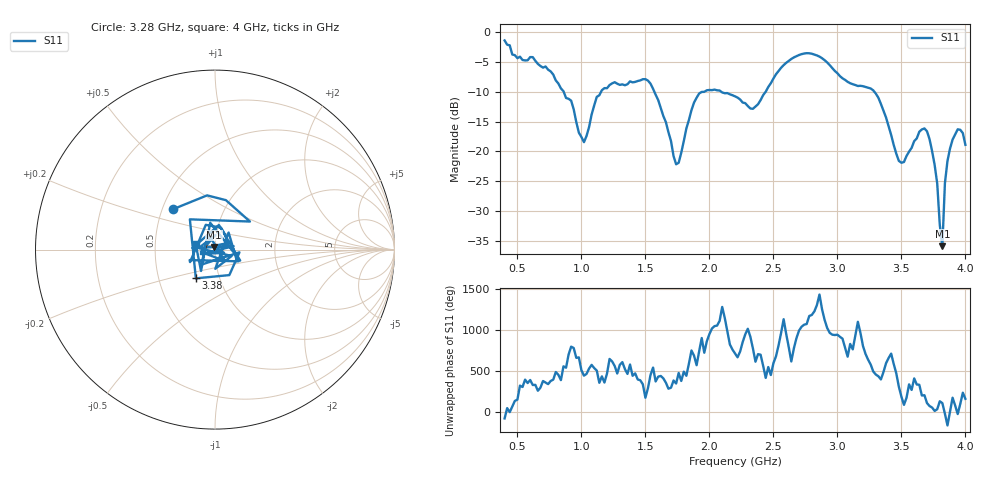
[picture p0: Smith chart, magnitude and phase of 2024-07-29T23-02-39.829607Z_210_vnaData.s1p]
!Created with skrf (http://scikit-rf.org).
# Hz S RI R 50.0
!freq ReS11 ImS11
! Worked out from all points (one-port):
!   181 points, 400 MHz to 4 GHz, reference 50 ohm
!   lowest |S11| = -35.9 dB at 3.82 GHz (marker M1), VSWR 1.03, Z = 49.4 + j1.48 ohm
!   |S11| at or under -10 dB: 1.57 GHz to 1.961 GHz (391 MHz wide, 22.1 % of centre); 2.093 GHz to 2.44 GHz (346.6 MHz wide, 15.3 % of centre); 3.289 GHz to end of sweep (the widest 3 of 4)
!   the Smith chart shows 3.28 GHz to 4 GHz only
!   S11 on the Smith chart (normalised r, x): 3.28 GHz: 0.57, +0.29; 3.38 GHz: 0.77, -0.26; 4 GHz: 0.80, +0.05
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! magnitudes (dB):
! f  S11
! 400 MHz  -1.4
! 720 MHz  -5.8
! 860 MHz  -9.9
! 920 MHz  -11.5
! 1.02 GHz  -18.5
! 1.12 GHz  -10.9
! 1.3 GHz  -8.8
! 1.54 GHz  -8.6
! 1.76 GHz  -21.9
! 1.86 GHz  -13.1
! 1.92 GHz  -10.3
! 2.2 GHz  -10.8
! 2.34 GHz  -12.9
! 2.66 GHz  -4.2
! 2.86 GHz  -4.1
! 3.1 GHz  -8.6
! 3.28 GHz  -9.8
! 3.38 GHz  -14.3
! 3.48 GHz  -21.6
! 3.56 GHz  -20.1
! 3.7 GHz  -16.6
! 3.78 GHz  -25.4
! 3.8 GHz  -32.4
! 3.82 GHz  -35.9
! 3.84 GHz  -25.4
! 3.88 GHz  -19.5
! 3.94 GHz  -16.3
! 4 GHz  -18.9
